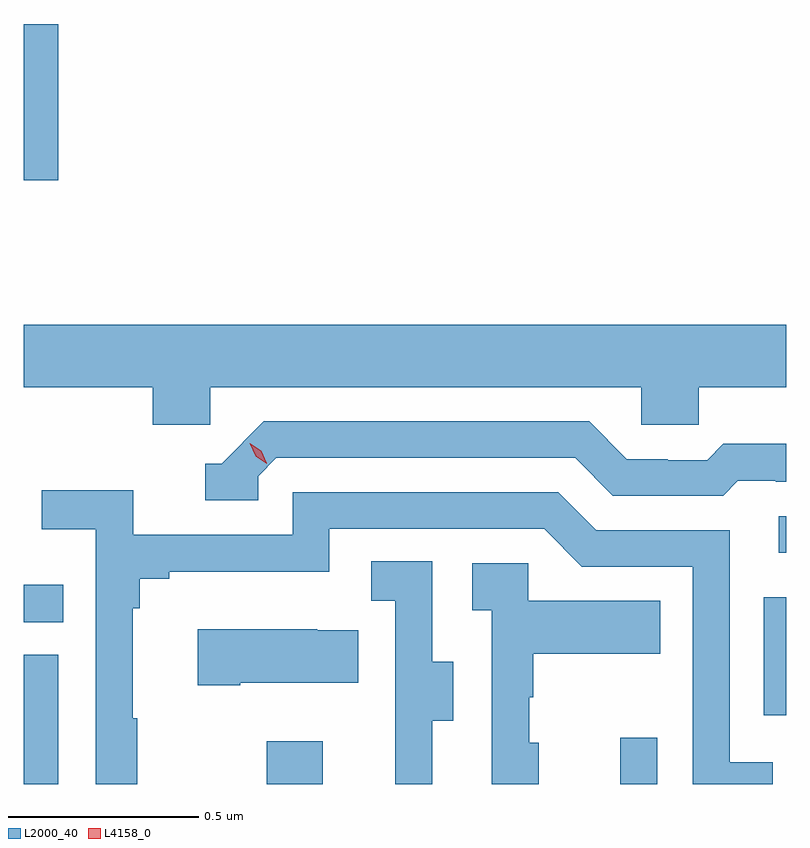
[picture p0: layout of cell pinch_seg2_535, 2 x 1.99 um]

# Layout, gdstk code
import gdstk
lib = gdstk.Library(unit=1e-6, precision=1e-09)
def R(c, l, rs):  # rectangles x0, y0, x1, y1
    for r in rs: c.add(gdstk.rectangle(r[:2], r[2:], *l))
def P(c, l, *ps):  # polygons
    for p in ps: c.add(gdstk.Polygon(p, *l))
L2000_40 = (2000, 40)
L4158_0 = (4158, 0)

pinch_seg2_535 = lib.new_cell('pinch_seg2_535')
R(pinch_seg2_535, L2000_40, [(995.913,590.652,996.004,590.991), (996.55,590.652,996.697,590.764), (997.478,590.652,997.575,590.773), (997.854,590.832,997.913,591.142), (995.913,591.076,996.017,591.175), (997.893,591.258,997.913,591.354), (995.913,592.235,996.004,592.645)])
P(pinch_seg2_535, L2000_40, [(996.402,591.692),(997.533,591.692),(997.533,591.594),(997.683,591.594),(997.683,591.692),(997.913,591.692),(997.913,591.856),(995.913,591.856),(995.913,591.692),(996.251,591.692),(996.251,591.594),(996.402,591.594)],
  [(996.528,591.459),(996.576,591.507),(997.359,591.507),(997.458,591.408),(997.747,591.408),(997.786,591.447),(997.885,591.447),(997.885,591.444),(997.913,591.444),(997.913,591.544),(997.747,591.544),(997.705,591.501),(997.602,591.501),(997.602,591.504),(997.495,591.504),(997.396,591.603),(996.543,591.603),(996.432,591.492),(996.389,591.492),(996.389,591.396),(996.528,591.396)],
  [(996.211,590.825),(996.199,590.825),(996.199,591.113),(996.218,591.113),(996.218,591.19),(996.295,591.19),(996.295,591.209),(996.714,591.209),(996.714,591.321),(997.278,591.321),(997.377,591.222),(997.668,591.222),(997.668,590.652),(997.877,590.652),(997.877,590.709),(997.764,590.709),(997.764,591.318),(997.414,591.318),(997.315,591.417),(996.618,591.417),(996.618,591.306),(996.2,591.306),(996.2,591.422),(995.961,591.422),(995.961,591.32),(996.102,591.32),(996.102,590.652),(996.211,590.652)],
  [(996.985,590.818),(997.039,590.818),(997.039,590.973),(996.984,590.973),(996.984,591.236),(996.825,591.236),(996.825,591.133),(996.888,591.133),(996.888,590.829),(996.887,590.829),(996.887,590.652),(996.985,590.652)],
  [(997.264,590.76),(997.239,590.76),(997.239,590.879),(997.249,590.879),(997.249,590.993),(997.583,590.993),(997.583,591.133),(997.236,591.133),(997.236,591.231),(997.089,591.231),(997.089,591.107),(997.14,591.107),(997.14,590.652),(997.264,590.652)],
  [(996.481,590.918),(996.791,590.918),(996.791,591.055),(996.683,591.055),(996.683,591.058),(996.369,591.058),(996.369,590.911),(996.481,590.911)])
P(pinch_seg2_535, L4158_0, [(996.551,591.492),(996.521,591.512),(996.506,591.545),(996.506,591.546),(996.506,591.546),(996.536,591.526),(996.551,591.493),(996.551,591.492)])

lib.write_gds('pinch_seg2_535.gds')
